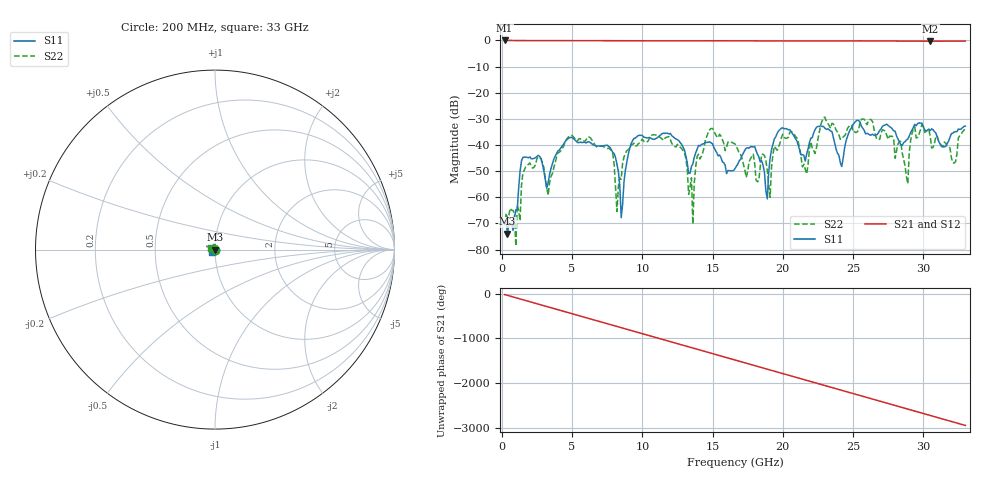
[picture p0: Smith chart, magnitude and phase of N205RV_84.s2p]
# GHZ S RI R 50
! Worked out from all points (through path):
!   329 points, 200 MHz to 33 GHz, reference 50 ohm
!   highest |S21| = -0.02 dB at 200 MHz (marker M1); lowest = -0.3 dB at 30.5 GHz (marker M2)
!   group delay of S21, straight-line fit = 248 ps
!   lowest |S11| = -74.0 dB at 400 MHz (marker M3), VSWR 1.00, Z = 50 - j0.0072 ohm
!   |S11| at or under -10 dB: start of sweep to end of sweep
!   |S22| runs from -78.7 to -29.4 dB; largest |S21 - S12| = 0.0019
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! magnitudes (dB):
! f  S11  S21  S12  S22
! 200 MHz  -70.2  0.0  0.0  -70.7
! 400 MHz  -74.0  0.0  0.0  -67.6
! 1 GHz  -64.8  0.0  0.0  -78.7
! 1.5 GHz  -44.8  -0.1  -0.1  -50.8
! 5.7 GHz  -39.1  -0.1  -0.1  -38.0
! 8 GHz  -43.3  -0.1  -0.1  -47.7
! 8.5 GHz  -67.8  -0.1  -0.1  -53.1
! 9.2 GHz  -39.6  -0.1  -0.1  -40.2
! 11.2 GHz  -36.6  -0.2  -0.2  -36.8
! 13 GHz  -41.9  -0.2  -0.2  -42.8
! 13.6 GHz  -47.3  -0.2  -0.2  -70.3
! 13.9 GHz  -41.7  -0.2  -0.2  -44.5
! 14.7 GHz  -38.9  -0.2  -0.2  -35.1
! 16.6 GHz  -49.1  -0.2  -0.2  -39.6
! 19.1 GHz  -45.0  -0.2  -0.2  -60.0
! 20 GHz  -33.5  -0.2  -0.2  -35.9
! 22.1 GHz  -37.2  -0.2  -0.2  -41.3
! 27.6 GHz  -33.0  -0.2  -0.2  -36.6
! 28.9 GHz  -37.8  -0.3  -0.3  -54.8
! 29.3 GHz  -33.2  -0.3  -0.3  -33.8
! 30.5 GHz  -34.5  -0.3  -0.3  -36.8
! 33 GHz  -32.8  -0.2  -0.2  -33.4
